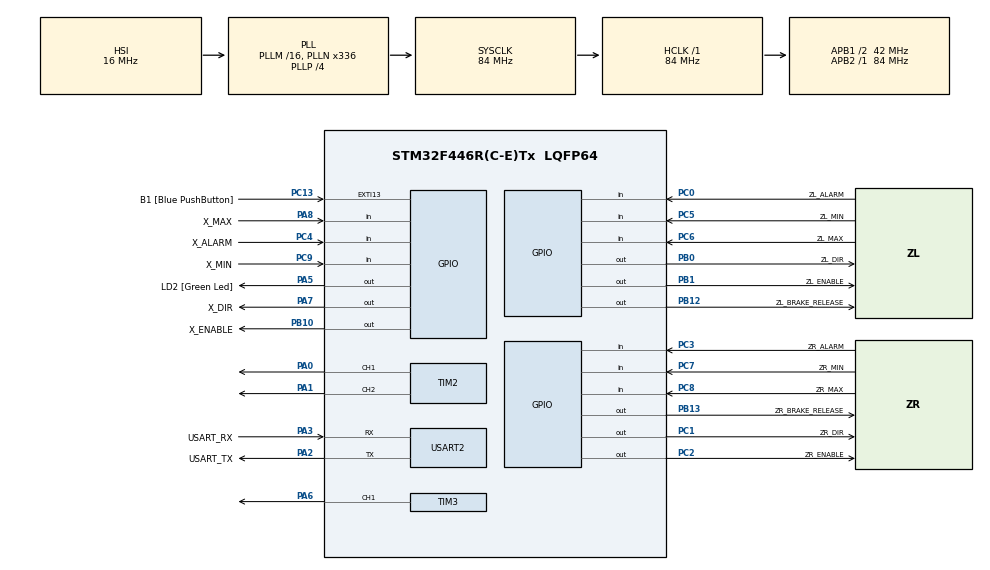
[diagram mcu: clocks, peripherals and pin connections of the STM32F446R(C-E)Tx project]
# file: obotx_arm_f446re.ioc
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Mcu.Family=STM32F4
Mcu.Name=STM32F446R(C-E)Tx
Mcu.Package=LQFP64
NVIC.PriorityGroup=NVIC_PRIORITYGROUP_0
PA0-WKUP.Signal=S_TIM2_CH1_ETR
PA1.Signal=S_TIM2_CH2
PA13.GPIO_Label=TMS
PA13.Mode=Serial_Wire
PA13.Signal=SYS_JTMS-SWDIO
PA14.GPIO_Label=TCK
PA14.Mode=Serial_Wire
PA14.Signal=SYS_JTCK-SWCLK
PA2.GPIO_Label=USART_TX
PA2.Mode=Asynchronous
PA2.Signal=USART2_TX
PA3.GPIO_Label=USART_RX
PA3.Mode=Asynchronous
PA3.Signal=USART2_RX
PA5.GPIO_Label=LD2 [Green Led]
PA5.Signal=GPIO_Output
PA6.Signal=S_TIM3_CH1
PA7.GPIO_Label=X_DIR
PA7.Signal=GPIO_Output
PA8.GPIO_Label=X_MAX
PA8.GPIO_PuPd=GPIO_PULLDOWN
PA8.Signal=GPIO_Input
PB0.GPIO_Label=ZL_DIR
PB0.Signal=GPIO_Output
PB1.GPIO_Label=ZL_ENABLE
PB1.Signal=GPIO_Output
PB10.GPIO_Label=X_ENABLE
PB10.Signal=GPIO_Output
PB12.GPIO_Label=ZL_BRAKE_RELEASE
PB12.Signal=GPIO_Output
PB13.GPIO_Label=ZR_BRAKE_RELEASE
PB13.Signal=GPIO_Output
PB3.GPIO_Label=SWO
PB3.Signal=SYS_JTDO-SWO
PC0.GPIO_Label=ZL_ALARM
PC0.GPIO_PuPd=GPIO_PULLDOWN
PC0.Signal=GPIO_Input
PC1.GPIO_Label=ZR_DIR
PC1.Signal=GPIO_Output
PC13.GPIO_Label=B1 [Blue PushButton]
PC13.GPIO_ModeDefaultEXTI=GPIO_MODE_IT_FALLING
PC13.Signal=GPXTI13
PC14-OSC32_IN.Mode=LSE-External-Oscillator
PC14-OSC32_IN.Signal=RCC_OSC32_IN
PC15-OSC32_OUT.Mode=LSE-External-Oscillator
PC15-OSC32_OUT.Signal=RCC_OSC32_OUT
PC2.GPIO_Label=ZR_ENABLE
PC2.Signal=GPIO_Output
PC3.GPIO_Label=ZR_ALARM
PC3.GPIO_PuPd=GPIO_PULLDOWN
PC3.Signal=GPIO_Input
PC4.GPIO_Label=X_ALARM
PC4.GPIO_PuPd=GPIO_PULLDOWN
PC4.Signal=GPIO_Input
PC5.GPIO_Label=ZL_MIN
PC5.GPIO_PuPd=GPIO_PULLDOWN
PC5.Signal=GPIO_Input
PC6.GPIO_Label=ZL_MAX
PC6.GPIO_PuPd=GPIO_PULLDOWN
PC6.Signal=GPIO_Input
PC7.GPIO_Label=ZR_MIN
PC7.GPIO_PuPd=GPIO_PULLDOWN
PC7.Signal=GPIO_Input
PC8.GPIO_Label=ZR_MAX
PC8.GPIO_PuPd=GPIO_PULLDOWN
PC8.Signal=GPIO_Input
PC9.GPIO_Label=X_MIN
PC9.GPIO_PuPd=GPIO_PULLDOWN
PC9.Signal=GPIO_Input
PH0-OSC_IN.Mode=HSE-External-Oscillator
PH0-OSC_IN.Signal=RCC_OSC_IN
PH1-OSC_OUT.Mode=HSE-External-Oscillator
PH1-OSC_OUT.Signal=RCC_OSC_OUT
ProjectManager.HeapSize=0x200
ProjectManager.StackSize=0x400
ProjectManager.TargetToolchain=STM32CubeIDE
RCC.48MHZClocksFreq_Value=84000000
RCC.AHBFreq_Value=84000000
RCC.APB1CLKDivider=RCC_HCLK_DIV2
RCC.APB1Freq_Value=42000000
RCC.APB1TimFreq_Value=84000000
RCC.APB2Freq_Value=84000000
RCC.APB2TimFreq_Value=84000000
RCC.CortexFreq_Value=84000000
RCC.FLatency-AdvancedSettings=FLASH_LATENCY_2
RCC.HCLKFreq_Value=84000000
RCC.HSE_VALUE=8000000
RCC.HSI_VALUE=16000000
RCC.PLLN=336
RCC.PLLP=RCC_PLLP_DIV4
RCC.SYSCLKFreq_VALUE=84000000
RCC.SYSCLKSource=RCC_SYSCLKSOURCE_PLLCLK
RCC.USBFreq_Value=168000000
RCC.VCOOutputFreq_Value=336000000
SH.S_TIM2_CH1_ETR.0=TIM2_CH1,PWM Generation1 CH1
SH.S_TIM2_CH2.0=TIM2_CH2,PWM Generation2 CH2
SH.S_TIM3_CH1.0=TIM3_CH1,PWM Generation1 CH1
TIM2.Channel-PWM\ Generation1\ CH1=TIM_CHANNEL_1
TIM2.Channel-PWM\ Generation2\ CH2=TIM_CHANNEL_2
TIM3.Channel-PWM\ Generation1\ CH1=TIM_CHANNEL_1
USART2.VirtualMode=VM_ASYNC
VP_TIM2_VS_ClockSourceINT.Mode=Internal
VP_TIM3_VS_ClockSourceINT.Mode=Internal
board=NUCLEO-F446RE

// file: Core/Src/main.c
/* USER CODE BEGIN Header */
/**
  ******************************************************************************
  * @file           : main.c
  * @brief          : Main program body
  ******************************************************************************
  * @attention
  *
  * Copyright (c) 2026 STMicroelectronics.
  * All rights reserved.
  *
  * This software is licensed under terms that can be found in the LICENSE file
  * in the root directory of this software component.
  * If no LICENSE file comes with this software, it is provided AS-IS.
  *
  ******************************************************************************
  */
/* USER CODE END Header */
#include "main.h"

/* USER CODE BEGIN Includes */
#include <stdbool.h>
#include <stdio.h>
#include <string.h>

#include "arm_debug_protocol.h"
#include "arm_link.h"
#include "arm_board_link.h"
#include "arm_step_hw.h"
#include "arm_gripper.h"

/* USER CODE END Includes */

/* USER CODE BEGIN PD */
#define RX_LINE_BUFFER_SIZE 80U
#define TX_STATUS_BUFFER_SIZE 512U
#define CONTROL_TICK_MS 10U
#define UART_RX_RING_SIZE 4096U

#define LIMIT_ACTIVE_STATE GPIO_PIN_SET
#define ZL_MIN_ACTIVE_STATE GPIO_PIN_RESET
#define ZL_MAX_ACTIVE_STATE GPIO_PIN_RESET
#include "arm_step_burst.h"
#include "arm_uart_tx.h"
#define ALARM_ACTIVE_STATE GPIO_PIN_SET
#define DRIVER_ENABLE_STATE GPIO_PIN_SET
#define DRIVER_DISABLE_STATE GPIO_PIN_RESET

/* USER CODE END PD */

TIM_HandleTypeDef htim2;
TIM_HandleTypeDef htim3;

UART_HandleTypeDef huart2;

/* USER CODE BEGIN PV */
static ArmMotionState arm_state;
static ArmMotionOutputs arm_outputs;
static uint8_t rx_byte;
static char rx_line[RX_LINE_BUFFER_SIZE];
static uint32_t rx_line_len;
static uint32_t last_control_tick_ms;
static ArmLink arm_link;
static volatile bool gripper_expired;
static char link_reply[ARM_LINK_TX_SIZE];
static ArmUartTx link_tx;
static uint8_t uart_rx_ring[UART_RX_RING_SIZE];
static volatile uint32_t uart_rx_head, uart_rx_tail;
static volatile bool uart_rx_error;
static volatile bool board_started;
static volatile bool service_armed, service_expired;
static volatile uint32_t service_last_ms;
static bool service_dropping;
static volatile ArmFaultCode input_fault;
static bool drivers_enabled;
static uint32_t drivers_enabled_ms;
static bool bench_travel_running;
static volatile bool bench_home_running;

/* USER CODE END PV */

void SystemClock_Config(void);
static void MX_GPIO_Init(void);
static void MX_USART2_UART_Init(void);
static void MX_TIM2_Init(void);
static void MX_TIM3_Init(void);
/* USER CODE BEGIN PFP */
static void arm_read_inputs(ArmMotionInputs *inputs);
static void arm_apply_outputs(const ArmMotionOutputs *outputs);
static void arm_poll_uart(void);
static void arm_send_text(const char *text);
static void arm_send_status(void);
static void arm_handle_line(const char *line);
static void arm_update_feedback(void);

/* USER CODE END PFP */

int main(void)
{

  /* MCU Configuration--------------------------------------------------------*/

  /* Reset of all peripherals, Initializes the Flash interface and the Systick. */
  HAL_Init();

  /* Configure the system clock */
  SystemClock_Config();

  /* Initialize all configured peripherals */
  MX_GPIO_Init();
  MX_USART2_UART_Init();
  MX_TIM2_Init();
  MX_TIM3_Init();
  /* USER CODE BEGIN 2 */
  arm_motion_init(&arm_state);
  arm_step_hw_init();
  arm_gripper_init();
  if (ARM_STEP_SCOPE_DMA) arm_step_burst_init();
  arm_motion_command_stop(&arm_state);
  arm_apply_outputs(&arm_outputs);
  if (ARM_SERIAL_SERVICE_MODE) {
    arm_send_text("OBOTX ARM SERVICE MODE\r\n");
  } else {
    char device_id[81], boot_id[81];
    if (!arm_board_identity(device_id, boot_id)) Error_Handler();
    arm_link_init(&arm_link, device_id, boot_id, ARM_WEB_MOTION_COMMISSIONED != 0);
  }
  HAL_NVIC_SetPriority(SysTick_IRQn, 0, 0);
  HAL_NVIC_SetPriority(USART2_IRQn, 1, 0);
  HAL_NVIC_EnableIRQ(USART2_IRQn);
  if (HAL_UART_Receive_IT(&huart2, &rx_byte, 1U) != HAL_OK) Error_Handler();
  board_started = true;

  /* USER CODE END 2 */

  /* Infinite loop */
  while (1)
  {

    /* USER CODE BEGIN 3 */
    uint32_t now_ms = HAL_GetTick();

    if (ARM_STEP_SCOPE_DMA) {
      arm_poll_uart();
      arm_step_burst_poll();
      continue;
    }

    arm_update_feedback();
    if (input_fault != ARM_FAULT_NONE) {
      arm_motion_latch_fault(&arm_state, input_fault, ARM_AXIS_Z_LEFT);
      input_fault = ARM_FAULT_NONE;
    }
    if (service_expired) {
      arm_motion_latch_fault(&arm_state, ARM_FAULT_COMM_TIMEOUT, ARM_AXIS_Z_LEFT);
      service_expired = false;
    }

    arm_poll_uart();
    if (gripper_expired) {
      arm_link_abort(&arm_link, &arm_state, "gripper_timeout");
      arm_board_emergency_stop();
      gripper_expired = false;
    }
    now_ms = HAL_GetTick();

    if (!ARM_SERIAL_SERVICE_MODE) {
      ArmMotionInputs inputs;
      arm_read_inputs(&inputs);
      arm_link_tick(&arm_link, &arm_state, &inputs, now_ms);
      if (!arm_state.enabled) arm_board_emergency_stop();
    }

    if ((uint32_t)(now_ms - last_control_tick_ms) >= CONTROL_TICK_MS) {
      ArmMotionInputs inputs;

      arm_update_feedback();
      uint32_t elapsed_ms = now_ms - last_control_tick_ms;
      last_control_tick_ms = now_ms;
      arm_read_inputs(&inputs);
      arm_motion_tick(&arm_state, &inputs, elapsed_ms, &arm_outputs);
      if (!ARM_SERIAL_SERVICE_MODE) arm_link_tick(&arm_link, &arm_state, &inputs, now_ms);
      arm_apply_outputs(&arm_outputs);
      uint32_t gripper_irq = __get_PRIMASK();
      __disable_irq();
      if (!ARM_SERIAL_SERVICE_MODE && arm_state.enabled && !arm_state.faulted &&
          !arm_link.watchdog_expired && !gripper_expired && !uart_rx_error &&
          input_fault == ARM_FAULT_NONE && inputs.motor_power_enabled && inputs.e_stop_ok)
        arm_gripper_apply(arm_link.gripper_target_milli, arm_link.gripper_accel_milli, elapsed_ms);
      else arm_gripper_stop();
      __set_PRIMASK(gripper_irq);
    }

  }
  /* USER CODE END 3 */
}

void SystemClock_Config(void)
{
  RCC_OscInitTypeDef RCC_OscInitStruct = {0};
  RCC_ClkInitTypeDef RCC_ClkInitStruct = {0};

  /** Configure the main internal regulator output voltage
  */
  __HAL_RCC_PWR_CLK_ENABLE();
  __HAL_PWR_VOLTAGESCALING_CONFIG(PWR_REGULATOR_VOLTAGE_SCALE3);

  /** Initializes the RCC Oscillators according to the specified parameters
  * in the RCC_OscInitTypeDef structure.
  */
  RCC_OscInitStruct.OscillatorType = RCC_OSCILLATORTYPE_HSI;
  RCC_OscInitStruct.HSIState = RCC_HSI_ON;
  RCC_OscInitStruct.HSICalibrationValue = RCC_HSICALIBRATION_DEFAULT;
  RCC_OscInitStruct.PLL.PLLState = RCC_PLL_ON;
  RCC_OscInitStruct.PLL.PLLSource = RCC_PLLSOURCE_HSI;
  RCC_OscInitStruct.PLL.PLLM = 16;
  RCC_OscInitStruct.PLL.PLLN = 336;
  RCC_OscInitStruct.PLL.PLLP = RCC_PLLP_DIV4;
  RCC_OscInitStruct.PLL.PLLQ = 2;
  RCC_OscInitStruct.PLL.PLLR = 2;
  if (HAL_RCC_OscConfig(&RCC_OscInitStruct) != HAL_OK)
  {
    Error_Handler();
  }

  /** Initializes the CPU, AHB and APB buses clocks
  */
  RCC_ClkInitStruct.ClockType = RCC_CLOCKTYPE_HCLK|RCC_CLOCKTYPE_SYSCLK
                              |RCC_CLOCKTYPE_PCLK1|RCC_CLOCKTYPE_PCLK2;
  RCC_ClkInitStruct.SYSCLKSource = RCC_SYSCLKSOURCE_PLLCLK;
  RCC_ClkInitStruct.AHBCLKDivider = RCC_SYSCLK_DIV1;
  RCC_ClkInitStruct.APB1CLKDivider = RCC_HCLK_DIV2;
  RCC_ClkInitStruct.APB2CLKDivider = RCC_HCLK_DIV1;

  if (HAL_RCC_ClockConfig(&RCC_ClkInitStruct, FLASH_LATENCY_2) != HAL_OK)
  {
    Error_Handler();
  }
}

static void MX_TIM2_Init(void)
{

  TIM_ClockConfigTypeDef sClockSourceConfig = {0};
  TIM_MasterConfigTypeDef sMasterConfig = {0};
  TIM_OC_InitTypeDef sConfigOC = {0};

  htim2.Instance = TIM2;
  htim2.Init.Prescaler = 0;
  htim2.Init.CounterMode = TIM_COUNTERMODE_UP;
  htim2.Init.Period = 4294967295;
  htim2.Init.ClockDivision = TIM_CLOCKDIVISION_DIV1;
  htim2.Init.AutoReloadPreload = TIM_AUTORELOAD_PRELOAD_DISABLE;
  if (HAL_TIM_Base_Init(&htim2) != HAL_OK)
  {
    Error_Handler();
  }
  sClockSourceConfig.ClockSource = TIM_CLOCKSOURCE_INTERNAL;
  if (HAL_TIM_ConfigClockSource(&htim2, &sClockSourceConfig) != HAL_OK)
  {
    Error_Handler();
  }
  if (HAL_TIM_PWM_Init(&htim2) != HAL_OK)
  {
    Error_Handler();
  }
  sMasterConfig.MasterOutputTrigger = TIM_TRGO_RESET;
  sMasterConfig.MasterSlaveMode = TIM_MASTERSLAVEMODE_DISABLE;
  if (HAL_TIMEx_MasterConfigSynchronization(&htim2, &sMasterConfig) != HAL_OK)
  {
    Error_Handler();
  }
  sConfigOC.OCMode = TIM_OCMODE_PWM1;
  sConfigOC.Pulse = 0;
  sConfigOC.OCPolarity = TIM_OCPOLARITY_HIGH;
  sConfigOC.OCFastMode = TIM_OCFAST_DISABLE;
  if (HAL_TIM_PWM_ConfigChannel(&htim2, &sConfigOC, TIM_CHANNEL_1) != HAL_OK)
  {
    Error_Handler();
  }
  if (HAL_TIM_PWM_ConfigChannel(&htim2, &sConfigOC, TIM_CHANNEL_2) != HAL_OK)
  {
    Error_Handler();
  }
  HAL_TIM_MspPostInit(&htim2);

}

static void MX_TIM3_Init(void)
{

  TIM_ClockConfigTypeDef sClockSourceConfig = {0};
  TIM_MasterConfigTypeDef sMasterConfig = {0};
  TIM_OC_InitTypeDef sConfigOC = {0};

  htim3.Instance = TIM3;
  htim3.Init.Prescaler = 0;
  htim3.Init.CounterMode = TIM_COUNTERMODE_UP;
  htim3.Init.Period = 65535;
  htim3.Init.ClockDivision = TIM_CLOCKDIVISION_DIV1;
  htim3.Init.AutoReloadPreload = TIM_AUTORELOAD_PRELOAD_DISABLE;
  if (HAL_TIM_Base_Init(&htim3) != HAL_OK)
  {
    Error_Handler();
  }
  sClockSourceConfig.ClockSource = TIM_CLOCKSOURCE_INTERNAL;
  if (HAL_TIM_ConfigClockSource(&htim3, &sClockSourceConfig) != HAL_OK)
  {
    Error_Handler();
  }
  if (HAL_TIM_PWM_Init(&htim3) != HAL_OK)
  {
    Error_Handler();
  }
  sMasterConfig.MasterOutputTrigger = TIM_TRGO_RESET;
  sMasterConfig.MasterSlaveMode = TIM_MASTERSLAVEMODE_DISABLE;
  if (HAL_TIMEx_MasterConfigSynchronization(&htim3, &sMasterConfig) != HAL_OK)
  {
    Error_Handler();
  }
  sConfigOC.OCMode = TIM_OCMODE_PWM1;
  sConfigOC.Pulse = 0;
  sConfigOC.OCPolarity = TIM_OCPOLARITY_HIGH;
  sConfigOC.OCFastMode = TIM_OCFAST_DISABLE;
  if (HAL_TIM_PWM_ConfigChannel(&htim3, &sConfigOC, TIM_CHANNEL_1) != HAL_OK)
  {
    Error_Handler();
  }
  HAL_TIM_MspPostInit(&htim3);

}

static void MX_USART2_UART_Init(void)
{

  huart2.Instance = USART2;
  huart2.Init.BaudRate = 115200;
  huart2.Init.WordLength = UART_WORDLENGTH_8B;
  huart2.Init.StopBits = UART_STOPBITS_1;
  huart2.Init.Parity = UART_PARITY_NONE;
  huart2.Init.Mode = UART_MODE_TX_RX;
  huart2.Init.HwFlowCtl = UART_HWCONTROL_NONE;
  huart2.Init.OverSampling = UART_OVERSAMPLING_16;
  if (HAL_UART_Init(&huart2) != HAL_OK)
  {
    Error_Handler();
  }

}

static void MX_GPIO_Init(void)
{
  GPIO_InitTypeDef GPIO_InitStruct = {0};

  /* GPIO Ports Clock Enable */
  __HAL_RCC_GPIOC_CLK_ENABLE();
  __HAL_RCC_GPIOH_CLK_ENABLE();
  __HAL_RCC_GPIOA_CLK_ENABLE();
  __HAL_RCC_GPIOB_CLK_ENABLE();

  /*Configure GPIO pin Output Level */
  HAL_GPIO_WritePin(GPIOC, ZR_DIR_Pin|ZR_ENABLE_Pin, GPIO_PIN_RESET);

  /*Configure GPIO pin Output Level */
  HAL_GPIO_WritePin(GPIOA, LD2_Pin|X_DIR_Pin, GPIO_PIN_RESET);

  /*Configure GPIO pin Output Level */
  HAL_GPIO_WritePin(GPIOB, ZL_DIR_Pin|ZL_ENABLE_Pin|X_ENABLE_Pin|ZL_BRAKE_RELEASE_Pin
                          |ZR_BRAKE_RELEASE_Pin, GPIO_PIN_RESET);

  /*Configure GPIO pin : B1_Pin */
  GPIO_InitStruct.Pin = B1_Pin;
  GPIO_InitStruct.Mode = GPIO_MODE_IT_FALLING;
  GPIO_InitStruct.Pull = GPIO_NOPULL;
  HAL_GPIO_Init(B1_GPIO_Port, &GPIO_InitStruct);

  /*Configure GPIO pins : ZL_ALARM_Pin ZR_ALARM_Pin X_ALARM_Pin ZL_MIN_Pin
                           ZL_MAX_Pin ZR_MIN_Pin ZR_MAX_Pin X_MIN_Pin */
  GPIO_InitStruct.Pin = ZL_ALARM_Pin|ZR_ALARM_Pin|X_ALARM_Pin|ZL_MIN_Pin
                          |ZL_MAX_Pin|ZR_MIN_Pin|ZR_MAX_Pin|X_MIN_Pin;
  GPIO_InitStruct.Mode = GPIO_MODE_INPUT;
  GPIO_InitStruct.Pull = GPIO_PULLDOWN;
  HAL_GPIO_Init(GPIOC, &GPIO_InitStruct);

  /*Configure GPIO pins : ZR_DIR_Pin ZR_ENABLE_Pin */
  GPIO_InitStruct.Pin = ZR_DIR_Pin|ZR_ENABLE_Pin;
  GPIO_InitStruct.Mode = GPIO_MODE_OUTPUT_PP;
  GPIO_InitStruct.Pull = GPIO_NOPULL;
  GPIO_InitStruct.Speed = GPIO_SPEED_FREQ_LOW;
  HAL_GPIO_Init(GPIOC, &GPIO_InitStruct);

  /*Configure GPIO pins : LD2_Pin X_DIR_Pin */
  GPIO_InitStruct.Pin = LD2_Pin|X_DIR_Pin;
  GPIO_InitStruct.Mode = GPIO_MODE_OUTPUT_PP;
  GPIO_InitStruct.Pull = GPIO_NOPULL;
  GPIO_InitStruct.Speed = GPIO_SPEED_FREQ_LOW;
  HAL_GPIO_Init(GPIOA, &GPIO_InitStruct);

  /*Configure GPIO pins : ZL_DIR_Pin ZL_ENABLE_Pin X_ENABLE_Pin ZL_BRAKE_RELEASE_Pin
                           ZR_BRAKE_RELEASE_Pin */
  GPIO_InitStruct.Pin = ZL_DIR_Pin|ZL_ENABLE_Pin|X_ENABLE_Pin|ZL_BRAKE_RELEASE_Pin
                          |ZR_BRAKE_RELEASE_Pin;
  GPIO_InitStruct.Mode = GPIO_MODE_OUTPUT_PP;
  GPIO_InitStruct.Pull = GPIO_NOPULL;
  GPIO_InitStruct.Speed = GPIO_SPEED_FREQ_LOW;
  HAL_GPIO_Init(GPIOB, &GPIO_InitStruct);

  /*Configure GPIO pin : X_MAX_Pin */
  GPIO_InitStruct.Pin = X_MAX_Pin;
  GPIO_InitStruct.Mode = GPIO_MODE_INPUT;
  GPIO_InitStruct.Pull = GPIO_PULLDOWN;
  HAL_GPIO_Init(X_MAX_GPIO_Port, &GPIO_InitStruct);

  /* USER CODE BEGIN MX_GPIO_Init_2 */

  /* Home sensors PC5/PC7/PC9 and level PA8: identical active-low PC817 outputs. */
  GPIO_InitStruct.Pin = ZL_MIN_Pin | ZR_MIN_Pin | X_MIN_Pin;
  GPIO_InitStruct.Mode = GPIO_MODE_INPUT;
  GPIO_InitStruct.Pull = GPIO_PULLUP;
  HAL_GPIO_Init(ZL_MIN_GPIO_Port, &GPIO_InitStruct);
  GPIO_InitStruct.Pin = X_MAX_Pin;
  HAL_GPIO_Init(X_MAX_GPIO_Port, &GPIO_InitStruct);

  /* USER CODE END MX_GPIO_Init_2 */
}

/* USER CODE BEGIN 4 */
static bool gpio_is_active(GPIO_TypeDef *port, uint16_t pin, GPIO_PinState active_state)
{
  return HAL_GPIO_ReadPin(port, pin) == active_state;
}

static void arm_read_inputs(ArmMotionInputs *inputs)
{
  memset(inputs, 0, sizeof(*inputs));

  inputs->axis[ARM_AXIS_Z_LEFT].driver_alarm_active =
      gpio_is_active(ZL_ALARM_GPIO_Port, ZL_ALARM_Pin, ALARM_ACTIVE_STATE);
  inputs->axis[ARM_AXIS_Z_RIGHT].driver_alarm_active =
      gpio_is_active(ZR_ALARM_GPIO_Port, ZR_ALARM_Pin, ALARM_ACTIVE_STATE);
  inputs->axis[ARM_AXIS_X].driver_alarm_active =
      gpio_is_active(X_ALARM_GPIO_Port, X_ALARM_Pin, ALARM_ACTIVE_STATE);

  inputs->axis[ARM_AXIS_Z_LEFT].min_limit_active =
      gpio_is_active(ZL_MIN_GPIO_Port, ZL_MIN_Pin, ZL_MIN_ACTIVE_STATE);
  inputs->axis[ARM_AXIS_Z_LEFT].max_limit_active =
      false;
  inputs->axis[ARM_AXIS_Z_RIGHT].min_limit_active =
      gpio_is_active(ZR_MIN_GPIO_Port, ZR_MIN_Pin, GPIO_PIN_RESET);
  inputs->axis[ARM_AXIS_Z_RIGHT].max_limit_active =
      false;
  inputs->axis[ARM_AXIS_X].min_limit_active =
      gpio_is_active(X_MIN_GPIO_Port, X_MIN_Pin, GPIO_PIN_RESET);
  inputs->axis[ARM_AXIS_X].max_limit_active =
      false;
  inputs->level_active = gpio_is_active(X_MAX_GPIO_Port, X_MAX_Pin, GPIO_PIN_RESET);

  /* No power feedback is wired; this is an assumption, not a voltage measurement. */
  inputs->motor_power_enabled = true;
  inputs->e_stop_ok = true;
}

static void arm_apply_outputs(const ArmMotionOutputs *outputs)
{
  uint32_t irq = __get_PRIMASK();
  __disable_irq();
  if (!(ARM_SERIAL_SERVICE_MODE ? ARM_BENCH_OUTPUTS : ARM_WEB_MOTION_COMMISSIONED) ||
      !arm_state.enabled || (!ARM_SERIAL_SERVICE_MODE && arm_link.watchdog_expired) ||
      service_expired || input_fault != ARM_FAULT_NONE || uart_rx_error || arm_state.faulted) {
    arm_board_emergency_stop();
    __set_PRIMASK(irq);
    return;
  }
  HAL_GPIO_WritePin(
      ZL_ENABLE_GPIO_Port,
      ZL_ENABLE_Pin,
      outputs->axis[ARM_AXIS_Z_LEFT].enabled ? DRIVER_ENABLE_STATE : DRIVER_DISABLE_STATE);
  HAL_GPIO_WritePin(
      ZR_ENABLE_GPIO_Port,
      ZR_ENABLE_Pin,
      !ARM_STANDALONE_ZL && !ARM_JSON_ZL_ONLY && outputs->axis[ARM_AXIS_Z_RIGHT].enabled ? DRIVER_ENABLE_STATE : DRIVER_DISABLE_STATE);
  HAL_GPIO_WritePin(
      X_ENABLE_GPIO_Port,
      X_ENABLE_Pin,
      !ARM_STANDALONE_ZL && !ARM_JSON_ZL_ONLY && outputs->axis[ARM_AXIS_X].enabled ? DRIVER_ENABLE_STATE : DRIVER_DISABLE_STATE);

  if (!drivers_enabled) {
    drivers_enabled = true;
    drivers_enabled_ms = HAL_GetTick();
  }
  /* Explicit ENA setup before changing DIR or starting the first pulse. */
  if ((uint32_t)(HAL_GetTick() - drivers_enabled_ms) < ARM_DRIVER_ENABLE_SETUP_MS) {
    __set_PRIMASK(irq);
    return;
  }

  if (!arm_step_hw_apply(outputs)) {
    arm_motion_latch_fault(&arm_state, ARM_FAULT_STEP_GENERATOR, ARM_AXIS_Z_LEFT);
    arm_board_emergency_stop();
  }

  HAL_GPIO_WritePin(LD2_GPIO_Port, LD2_Pin, outputs->faulted ? GPIO_PIN_SET : GPIO_PIN_RESET);
  __set_PRIMASK(irq);
}

void arm_board_emergency_stop(void)
{
  arm_gripper_stop();
  if (ARM_STEP_SCOPE_DMA) arm_step_burst_abort();
  drivers_enabled = false;
  arm_step_hw_abort();
  /* Also handles failures before the pulse engine has initialized. */
  TIM2->CCER &= ~(TIM_CCER_CC1E | TIM_CCER_CC2E);
  TIM3->CCER &= ~TIM_CCER_CC1E;
  TIM2->CR1 &= ~TIM_CR1_CEN;
  TIM3->CR1 &= ~TIM_CR1_CEN;
  HAL_GPIO_WritePin(ZL_ENABLE_GPIO_Port, ZL_ENABLE_Pin, DRIVER_DISABLE_STATE);
  HAL_GPIO_WritePin(ZR_ENABLE_GPIO_Port, ZR_ENABLE_Pin, DRIVER_DISABLE_STATE);
  HAL_GPIO_WritePin(X_ENABLE_GPIO_Port, X_ENABLE_Pin, DRIVER_DISABLE_STATE);
  HAL_GPIO_WritePin(ZL_BRAKE_RELEASE_GPIO_Port, ZL_BRAKE_RELEASE_Pin, GPIO_PIN_RESET);
  HAL_GPIO_WritePin(ZR_BRAKE_RELEASE_GPIO_Port, ZR_BRAKE_RELEASE_Pin, GPIO_PIN_RESET);
}

void arm_board_watchdog_tick(void)
{
  if (ARM_STEP_SCOPE_DMA) {
    if (board_started) arm_step_burst_poll();
    return;
  }
  if (board_started) {
    if (arm_gripper_guard()) {
      gripper_expired = true;
      arm_board_emergency_stop();
    }
    ArmMotionInputs inputs;
    arm_read_inputs(&inputs);
    if (!inputs.motor_power_enabled) input_fault = ARM_FAULT_MOTOR_POWER_DISABLED;
    for (int i = 0; i < ARM_AXIS_COUNT; ++i)
      if (inputs.axis[i].driver_alarm_active) input_fault = ARM_FAULT_DRIVER_ALARM;
    if (input_fault != ARM_FAULT_NONE) arm_board_emergency_stop();
    arm_step_hw_guard();
  }
  if (board_started && ARM_SERIAL_SERVICE_MODE && service_armed &&
      (uint32_t)(HAL_GetTick() - service_last_ms) >= 1000U) {
    service_expired = true;
    service_armed = false;
    arm_board_emergency_stop();
  }
  if (board_started && !ARM_SERIAL_SERVICE_MODE &&
      arm_link_watchdog_isr(&arm_link, HAL_GetTick())) arm_board_emergency_stop();
}

bool arm_board_pulse_allowed(ArmAxisId axis, bool positive)
{
  if ((ARM_STANDALONE_ZL || ARM_JSON_ZL_ONLY) && axis != ARM_AXIS_Z_LEFT) return false;
  if (service_expired || input_fault != ARM_FAULT_NONE || uart_rx_error || (!ARM_SERIAL_SERVICE_MODE && arm_link.watchdog_expired)) return false;
  ArmMotionInputs inputs;
  arm_read_inputs(&inputs);
  if (!inputs.motor_power_enabled || !inputs.e_stop_ok) return false;
  if (bench_home_running && inputs.axis[ARM_AXIS_Z_LEFT].max_limit_active) return false;
  for (int i = 0; i < ARM_AXIS_COUNT; ++i) if (inputs.axis[i].driver_alarm_active) return false;
  if (arm_link.service_release_required) return false;
  if (arm_state.service_bypass && arm_link.service_active) return true;
  return !(positive ? inputs.axis[axis].max_limit_active : inputs.axis[axis].min_limit_active);
}

static void arm_poll_uart(void)
{
  if (uart_rx_error) {
    uint32_t interrupt_state = __get_PRIMASK();
    __disable_irq();
    uart_rx_tail = uart_rx_head;
    uart_rx_error = false;
    __set_PRIMASK(interrupt_state);
    arm_link_abort(&arm_link, &arm_state, "uart_error_or_overflow");
    arm_link.rx_len = 0;
    arm_link.dropping = true;
    rx_line_len = 0;
    service_dropping = true;
    arm_board_emergency_stop();
  }
  if (!ARM_SERIAL_SERVICE_MODE) {
    ArmTxStatus tx = arm_uart_tx_poll(&link_tx, &huart2, HAL_GetTick());
    if (tx == ARM_TX_FAILED) {
      arm_link_abort(&arm_link, &arm_state, "uart_tx_error");
      arm_board_emergency_stop();
      return;
    }
    /* Do not overwrite link_reply while the TX interrupt is reading it.
     * Return to motion control instead of blocking on the wire transfer. */
    if (tx == ARM_TX_BUSY) return;
  }
  for (unsigned budget = 0; budget < 128U && uart_rx_tail != uart_rx_head; ++budget) {
    uint8_t byte = uart_rx_ring[uart_rx_tail];
    uart_rx_tail = (uart_rx_tail + 1U) % UART_RX_RING_SIZE;
    if (!ARM_SERIAL_SERVICE_MODE) {
      ArmMotionInputs inputs;
      arm_read_inputs(&inputs);
      size_t length = arm_link_feed(&arm_link, &arm_state, &inputs, HAL_GetTick(),
                                    byte, link_reply, sizeof(link_reply));
      if (!arm_state.enabled) arm_board_emergency_stop();
      if (length) {
        arm_motion_tick(&arm_state, &inputs, 0, &arm_outputs);
        arm_apply_outputs(&arm_outputs);
        if (!arm_uart_tx_start(&link_tx, &huart2, (uint8_t *)link_reply, (uint16_t)length, HAL_GetTick())) {
          arm_link_abort(&arm_link, &arm_state, "uart_tx_error");
          arm_board_emergency_stop();
        }
        return;
      }
      continue;
    }
    if (service_dropping) {
      if (byte == '\n') service_dropping = false;
      continue;
    }
    if (byte == '\r' || byte == '\n') {
      if (rx_line_len > 0U) {
        rx_line[rx_line_len] = '\0';
        arm_handle_line(rx_line);
        rx_line_len = 0U;
      }
      continue;
    }

    if (rx_line_len < (RX_LINE_BUFFER_SIZE - 1U)) {
      rx_line[rx_line_len++] = (char)byte;
    } else {
      rx_line_len = 0U;
      service_dropping = true;
      arm_motion_set_enabled(&arm_state, false);
      arm_board_emergency_stop();
      arm_send_text("ERR line_too_long\r\n");
    }
  }
}

void HAL_UART_RxCpltCallback(UART_HandleTypeDef *uart)
{
  if (uart->Instance != USART2) return;
  uint32_t next = (uart_rx_head + 1U) % UART_RX_RING_SIZE;
  if (next == uart_rx_tail) {
    uart_rx_error = true;
    arm_board_emergency_stop();
  } else {
    uart_rx_ring[uart_rx_head] = rx_byte;
    __DMB();
    uart_rx_head = next;
  }
  if (HAL_UART_Receive_IT(uart, &rx_byte, 1U) != HAL_OK) uart_rx_error = true;
}

void HAL_UART_ErrorCallback(UART_HandleTypeDef *uart)
{
  if (uart->Instance != USART2) return;
  uart_rx_error = true;
  arm_board_emergency_stop();
  HAL_UART_AbortReceive(uart);
  __HAL_UART_CLEAR_OREFLAG(uart);
  (void)HAL_UART_Receive_IT(uart, &rx_byte, 1U);
}

static void arm_send_text(const char *text)
{
  HAL_UART_Transmit(&huart2, (uint8_t *)text, (uint16_t)strlen(text), 100U);
}

static void arm_send_status(void)
{
  char tx_status[TX_STATUS_BUFFER_SIZE];
  size_t len = arm_debug_format_status(&arm_state, &arm_outputs, tx_status, sizeof(tx_status));

  HAL_UART_Transmit(&huart2, (uint8_t *)tx_status, (uint16_t)len, 100U);
}

static void arm_update_feedback(void)
{
  arm_step_hw_feedback(&arm_state);
  if (bench_home_running && (!arm_state.enabled || arm_state.mode != ARM_MODE_HOMING ||
      arm_step_hw_limit_done(ARM_AXIS_Z_LEFT))) {
    if (arm_state.enabled && arm_state.mode == ARM_MODE_HOMING)
      arm_motion_latch_fault(&arm_state, ARM_FAULT_HOME_SWITCH, ARM_AXIS_Z_LEFT);
    arm_motion_set_enabled(&arm_state, false);
    service_armed = false;
    arm_board_emergency_stop();
    arm_step_hw_feedback(&arm_state);
    bench_home_running = false;
    ArmMotionInputs inputs;
    arm_read_inputs(&inputs);
    arm_motion_tick(&arm_state, &inputs, 0, &arm_outputs);
  }
  if (bench_travel_running && (!arm_state.enabled || arm_step_hw_limit_done(ARM_AXIS_Z_LEFT))) {
    ArmMotionInputs inputs;
    arm_motion_set_enabled(&arm_state, false);
    service_armed = false;
    arm_board_emergency_stop();
    /* Include the last ISR batch before reporting completion. */
    arm_step_hw_feedback(&arm_state);
    bench_travel_running = false;
    arm_read_inputs(&inputs);
    arm_motion_tick(&arm_state, &inputs, 0, &arm_outputs);
  }
}

static bool arm_start_bench_travel(const ArmDebugCommand *command, const ArmMotionInputs *inputs)
{
  int64_t distance = command->position_um;
  int64_t magnitude = distance < 0 ? -distance : distance;
  int32_t velocity = command->velocity_limit_um_s ? command->velocity_limit_um_s : 1000;
  int64_t skew = (int64_t)arm_state.axis[0].position_um + distance - arm_state.axis[1].position_um;
  if (!ARM_STANDALONE_ZL || !command->physical_axis_selected || command->physical_axis != ARM_AXIS_Z_LEFT ||
      arm_state.enabled || arm_state.faulted || arm_state.mode != ARM_MODE_IDLE || bench_travel_running ||
      !inputs->motor_power_enabled || !inputs->e_stop_ok || magnitude == 0 || magnitude > 20000 ||
      velocity < 1 || velocity > ARM_Z_STEP_MAX_VELOCITY_UM_S || skew < -ARM_Z_MAX_SKEW_UM || skew > ARM_Z_MAX_SKEW_UM ||
      magnitude * ARM_DRIVER_PULSES_PER_REV % ARM_Z_UM_PER_REV != 0) return false;
  /* Faster bench moves go away from MIN only, inside the first 80 mm after home. */
  if (velocity > 1000 && (!arm_state.axis[0].homed || distance <= 0 ||
      arm_state.axis[0].position_um < 0 || (int64_t)arm_state.axis[0].position_um + distance > 80000)) return false;
  for (int i = 0; i < ARM_AXIS_COUNT; ++i)
    if (inputs->axis[i].min_limit_active || inputs->axis[i].max_limit_active ||
        inputs->axis[i].driver_alarm_active || arm_state.axis[i].pulse_active) return false;
  uint32_t irq = __get_PRIMASK();
  __disable_irq();
  bool ok = !service_expired && input_fault == ARM_FAULT_NONE && !uart_rx_error;
  if (ok) ok = arm_step_hw_begin_limit(ARM_AXIS_Z_LEFT,
      (uint32_t)(magnitude * ARM_DRIVER_PULSES_PER_REV / ARM_Z_UM_PER_REV), distance > 0);
  if (ok) {
    arm_motion_set_enabled(&arm_state, true);
    ok = arm_motion_command_axis_jog(&arm_state, ARM_AXIS_Z_LEFT, distance > 0 ? velocity : -velocity);
  }
  if (ok) {
    bench_travel_running = true;
    service_last_ms = HAL_GetTick();
    service_armed = true;
  } else {
    arm_motion_set_enabled(&arm_state, false);
    arm_board_emergency_stop();
  }
  __set_PRIMASK(irq);
  return ok;
}

static bool scope_number(const char *text, uint32_t maximum, uint32_t *value)
{
  uint32_t n = 0;
  if (!text || !*text) return false;
  for (; *text; ++text) {
    if (*text < '0' || *text > '9') return false;
    uint32_t digit = (uint32_t)(*text - '0');
    if (n > maximum / 10U || n * 10U + digit > maximum) return false;
    n = n * 10U + digit;
  }
  *value = n;
  return n != 0;
}

static void arm_handle_scope_line(const char *line)
{
  char copy[80], reply[160];
  if (strlen(line) >= sizeof(copy)) { arm_send_text("ERR scope_command\r\n"); return; }
  strcpy(copy, line);
  char *tokens[5];
  unsigned count = 0;
  for (char *p = strtok(copy, " \t"); p; p = strtok(NULL, " \t")) {
    if (count == 5) { arm_send_text("ERR scope_command\r\n"); return; }
    tokens[count++] = p;
  }
  if (count == 1 && !strcmp(tokens[0], "STOP")) arm_step_burst_abort();
  else if (count == 2 && !strcmp(tokens[0], "SCOPE") && !strcmp(tokens[1], "STATUS")) {}
  else if (count == 4 && !strcmp(tokens[0], "SCOPE")) {
    ArmAxisId axis = !strcmp(tokens[1], "ZL") ? ARM_AXIS_Z_LEFT :
                     (!strcmp(tokens[1], "ZR") ? ARM_AXIS_Z_RIGHT : ARM_AXIS_X);
    uint32_t hz, pulses;
    if ((strcmp(tokens[1], "ZL") && strcmp(tokens[1], "ZR") && strcmp(tokens[1], "X")) ||
        !scope_number(tokens[2], ARM_BURST_MAX_HZ, &hz) ||
        !scope_number(tokens[3], ARM_BURST_MAX_PULSES, &pulses) ||
        !arm_step_burst_start(axis, hz, pulses)) {
      arm_send_text("ERR scope_busy_or_range\r\n"); return;
    }
  } else { arm_send_text("ERR scope_only\r\n"); return; }
  ArmBurstStatus s = arm_step_burst_status();
  snprintf(reply, sizeof(reply), "SCOPE state=%u axis=%u hz=%lu pulses=%lu ena=0\r\n",
           (unsigned)s.state, (unsigned)s.axis, (unsigned long)s.hz, (unsigned long)s.pulses);
  arm_send_text(reply);
}

static void arm_handle_line(const char *line)
{
  if (ARM_STEP_SCOPE_DMA) { arm_handle_scope_line(line); return; }
  ArmDebugCommand command;
  ArmMotionInputs inputs;
  arm_update_feedback();
  arm_read_inputs(&inputs);
  if (!strcmp(line, "INPUTS") || !strcmp(line, "IO")) {
    char text[240];
    snprintf(text, sizeof(text), "IO power=%u zl=%u,%u,%u zr=%u,%u,%u x=%u,%u,%u filtered=%u,%u,%u,%u,%u,%u bench=%u standalone_zl=%u skew_um=%ld\r\n",
        inputs.motor_power_enabled,
        inputs.axis[0].min_limit_active, inputs.axis[0].max_limit_active, inputs.axis[0].driver_alarm_active,
        inputs.axis[1].min_limit_active, inputs.axis[1].max_limit_active, inputs.axis[1].driver_alarm_active,
        inputs.axis[2].min_limit_active, inputs.axis[2].max_limit_active, inputs.axis[2].driver_alarm_active,
        arm_state.axis[0].min_filter.stable, arm_state.axis[0].max_filter.stable,
        arm_state.axis[1].min_filter.stable, arm_state.axis[1].max_filter.stable,
        arm_state.axis[2].min_filter.stable, arm_state.axis[2].max_filter.stable, ARM_BENCH_OUTPUTS,
        ARM_STANDALONE_ZL, (long)ARM_Z_MAX_SKEW_UM);
    arm_send_text(text);
    return;
  }

  if (!arm_debug_parse_line(line, &command)) {
    arm_send_text("ERR parse\r\n");
    return;
  }

  if (ARM_STANDALONE_ZL && command.type == ARM_DEBUG_CMD_HOME && command.physical_axis_selected) {
    bool ok = command.physical_axis == ARM_AXIS_Z_LEFT && !arm_state.enabled && !arm_state.faulted &&
        arm_state.mode == ARM_MODE_IDLE && !bench_travel_running && !bench_home_running &&
        inputs.motor_power_enabled && inputs.e_stop_ok;
    for (int i = 0; i < ARM_AXIS_COUNT; ++i)
      if (inputs.axis[i].driver_alarm_active || inputs.axis[i].max_limit_active ||
          inputs.axis[i].min_limit_active || arm_state.axis[i].pulse_active) ok = false;
    uint32_t irq = __get_PRIMASK();
    __disable_irq();
    ok = ok && !service_expired && input_fault == ARM_FAULT_NONE && !uart_rx_error;
    if (ok) ok = arm_step_hw_begin_home_limit();
    if (ok) {
      arm_motion_set_enabled(&arm_state, true);
      ok = arm_motion_command_home_zl(&arm_state);
      if (ok) {
        bench_home_running = true;
        service_last_ms = HAL_GetTick();
        service_armed = true;
      } else {
        arm_motion_set_enabled(&arm_state, false);
        arm_board_emergency_stop();
      }
    }
    __set_PRIMASK(irq);
    if (!ok) { arm_send_text("ERR standalone_home_precondition\r\n"); return; }
    arm_motion_tick(&arm_state, &inputs, 0, &arm_outputs);
    arm_apply_outputs(&arm_outputs);
    arm_send_text("OK\r\n");
    arm_send_status();
    return;
  }

  if (command.type == ARM_DEBUG_CMD_TRAVEL) {
    if (!arm_start_bench_travel(&command, &inputs)) {
      arm_send_text("ERR standalone_travel_precondition\r\n");
      return;
    }
    arm_motion_tick(&arm_state, &inputs, 0, &arm_outputs);
    arm_apply_outputs(&arm_outputs);
    arm_send_text("OK\r\n");
    arm_send_status();
    return;
  }
  if (ARM_STANDALONE_ZL && command.type != ARM_DEBUG_CMD_HEARTBEAT &&
      command.type != ARM_DEBUG_CMD_STATUS && command.type != ARM_DEBUG_CMD_ENABLE &&
      command.type != ARM_DEBUG_CMD_STOP && command.type != ARM_DEBUG_CMD_CLEAR_FAULT) {
    arm_send_text("ERR standalone_use_TRAVEL\r\n");
    return;
  }
  if (ARM_STANDALONE_ZL && command.type == ARM_DEBUG_CMD_STOP) {
    arm_motion_set_enabled(&arm_state, false);
    arm_board_emergency_stop();
    arm_update_feedback();
  }

  if (command.type == ARM_DEBUG_CMD_JOG || command.type == ARM_DEBUG_CMD_MOVE ||
      command.type == ARM_DEBUG_CMD_SET_MOVE_VELOCITY) {
    ArmAxisId axis = command.physical_axis_selected ? command.physical_axis :
        (command.axis == ARM_VIRTUAL_AXIS_X ? ARM_AXIS_X : ARM_AXIS_Z_LEFT);
    int64_t velocity = command.type == ARM_DEBUG_CMD_MOVE ? command.velocity_limit_um_s : command.velocity_um_s;
    if (command.type == ARM_DEBUG_CMD_MOVE && velocity == 0) velocity = arm_state.axis[axis].default_move_velocity_um_s;
    if (velocity < 0) velocity = -velocity;
    if (velocity * ARM_AXIS_CONFIG[axis].driver_pulses_per_rev >
        (int64_t)ARM_STEP_MAX_HZ * ARM_AXIS_CONFIG[axis].um_per_motor_rev) {
      arm_send_text("ERR bench_step_rate\r\n");
      return;
    }
  }

  if (!arm_debug_apply_command(&arm_state, &command)) {
    arm_send_text("ERR command\r\n");
    return;
  }

  if (command.type == ARM_DEBUG_CMD_HEARTBEAT || command.type == ARM_DEBUG_CMD_ENABLE ||
      command.type == ARM_DEBUG_CMD_JOG || command.type == ARM_DEBUG_CMD_MOVE || command.type == ARM_DEBUG_CMD_HOME) {
    service_last_ms = HAL_GetTick();
    service_armed = arm_state.enabled;
  }
  if (!arm_state.enabled) service_armed = false;
  arm_motion_tick(&arm_state, &inputs, 0, &arm_outputs);
  arm_apply_outputs(&arm_outputs);

  arm_send_text("OK\r\n");
  arm_send_status();
}

/* USER CODE END 4 */

void Error_Handler(void)
{
  /* USER CODE BEGIN Error_Handler_Debug */
  /* User can add his own implementation to report the HAL error return state */
  arm_board_emergency_stop();
  __disable_irq();
  while (1)
  {
  }
  /* USER CODE END Error_Handler_Debug */
}
